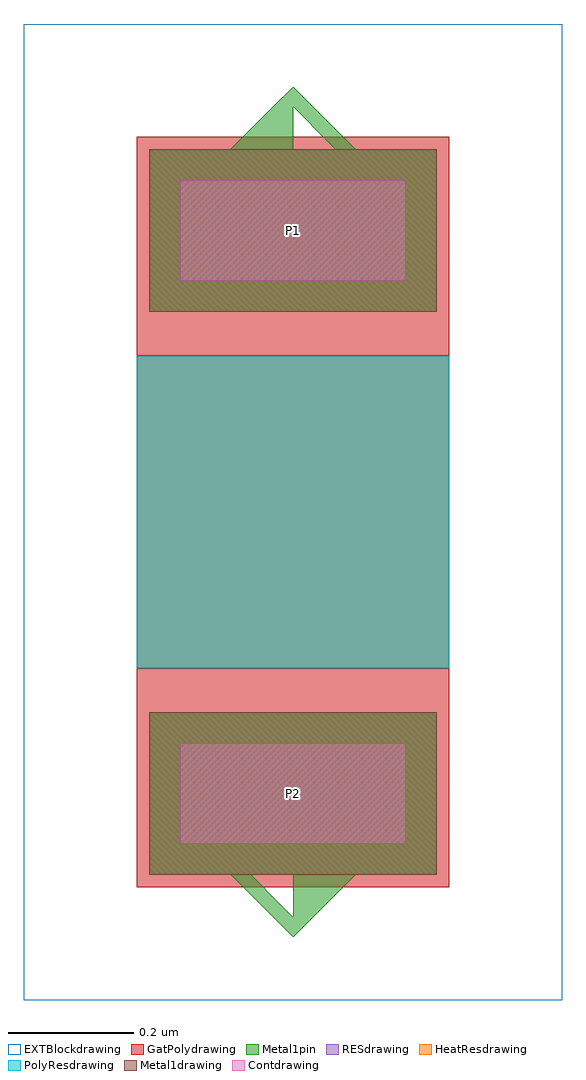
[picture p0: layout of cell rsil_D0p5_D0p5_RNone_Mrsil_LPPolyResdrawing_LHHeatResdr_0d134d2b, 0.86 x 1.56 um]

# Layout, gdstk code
import gdstk
lib = gdstk.Library(unit=1e-6, precision=1e-09)
def R(c, l, rs):  # rectangles x0, y0, x1, y1
    for r in rs: c.add(gdstk.rectangle(r[:2], r[2:], *l))
def P(c, l, *ps):  # polygons
    for p in ps: c.add(gdstk.Polygon(p, *l))
GatPolydrawing = (5, 0)
Contdrawing = (6, 0)
Metal1drawing = (8, 0)
Metal1pin = (8, 2)
RESdrawing = (24, 0)
HeatResdrawing = (52, 0)
EXTBlockdrawing = (111, 0)
PolyResdrawing = (128, 0)

rectangle_gdsfactorypcom = lib.new_cell('rectangle_gdsfactorypcomponentspshapesprectangle_S0p86__22b38a77')
R(rectangle_gdsfactorypcom, EXTBlockdrawing, [(0,0,0.86,1.56)])

c_rectangle_gdsfactorypcom = lib.new_cell('rectangle_gdsfactorypcomponentspshapesprectangle_S0p36__cc771b56')
R(c_rectangle_gdsfactorypcom, Contdrawing, [(0,0,0.36,0.16)])

c_rectangle_gdsfactorypcom_ = lib.new_cell('rectangle_gdsfactorypcomponentspshapesprectangle_S0p46__c5e398a1')
R(c_rectangle_gdsfactorypcom_, Metal1drawing, [(0,0,0.46,0.26)])

c_rectangle_gdsfactorypcom__ = lib.new_cell('rectangle_gdsfactorypcomponentspshapesprectangle_S0p46__0c3aa280')
R(c_rectangle_gdsfactorypcom__, Metal1pin, [(0,0,0.46,0.26)])

c_rectangle_gdsfactorypcom___ = lib.new_cell('rectangle_gdsfactorypcomponentspshapesprectangle_S0p5_0_365be98d')
R(c_rectangle_gdsfactorypcom___, GatPolydrawing, [(0,0,0.5,0.35)])

c_rectangle_gdsfactorypcom____ = lib.new_cell('rectangle_gdsfactorypcomponentspshapesprectangle_S0p5_0_28ac2caa')
R(c_rectangle_gdsfactorypcom____, RESdrawing, [(0,0,0.5,0.5)])

c_rectangle_gdsfactorypcom_____ = lib.new_cell('rectangle_gdsfactorypcomponentspshapesprectangle_S0p5_0_955d4748')
R(c_rectangle_gdsfactorypcom_____, HeatResdrawing, [(0,0,0.5,0.5)])

c_rectangle_gdsfactorypcom______ = lib.new_cell('rectangle_gdsfactorypcomponentspshapesprectangle_S0p5_0_ce1d4e87')
R(c_rectangle_gdsfactorypcom______, PolyResdrawing, [(0,0,0.5,0.5)])

rsil_d0p5_d0p5_rnone_mrs = lib.new_cell('rsil_D0p5_D0p5_RNone_Mrsil_LPPolyResdrawing_LHHeatResdr_0d134d2b')
P(rsil_d0p5_d0p5_rnone_mrs, Metal1pin, [(0.25,-0.43),(0.043,-0.223),(0.077,-0.223),(0.25,-0.398),(0.25,-0.223),(0.043,-0.223),(0.02,-0.2),(0.48,-0.2)],
  [(0.02,0.7),(0.218,0.898),(0.25,0.898),(0.25,0.723),(0.423,0.723),(0.25,0.898),(0.218,0.898),(0.25,0.93),(0.48,0.7)])
rsil_d0p5_d0p5_rnone_mrs.add(gdstk.Reference(rectangle_gdsfactorypcom, (-0.18,-0.53)))
rsil_d0p5_d0p5_rnone_mrs.add(gdstk.Reference(c_rectangle_gdsfactorypcom, (0.07,-0.28)))
rsil_d0p5_d0p5_rnone_mrs.add(gdstk.Reference(c_rectangle_gdsfactorypcom, (0.07,0.62)))
rsil_d0p5_d0p5_rnone_mrs.add(gdstk.Reference(c_rectangle_gdsfactorypcom_, (0.02,-0.33)))
rsil_d0p5_d0p5_rnone_mrs.add(gdstk.Reference(c_rectangle_gdsfactorypcom_, (0.02,0.57)))
rsil_d0p5_d0p5_rnone_mrs.add(gdstk.Reference(c_rectangle_gdsfactorypcom__, (0.02,-0.33)))
rsil_d0p5_d0p5_rnone_mrs.add(gdstk.Reference(c_rectangle_gdsfactorypcom__, (0.02,0.57)))
rsil_d0p5_d0p5_rnone_mrs.add(gdstk.Reference(c_rectangle_gdsfactorypcom___, (0,-0.35)))
rsil_d0p5_d0p5_rnone_mrs.add(gdstk.Reference(c_rectangle_gdsfactorypcom___, (0,0.5)))
rsil_d0p5_d0p5_rnone_mrs.add(gdstk.Reference(c_rectangle_gdsfactorypcom____, (0,0)))
rsil_d0p5_d0p5_rnone_mrs.add(gdstk.Reference(c_rectangle_gdsfactorypcom_____, (0,0)))
rsil_d0p5_d0p5_rnone_mrs.add(gdstk.Reference(c_rectangle_gdsfactorypcom______, (0,0)))
rsil_d0p5_d0p5_rnone_mrs.add(gdstk.Label('P2', (0.25,-0.2), layer=8, texttype=2))
rsil_d0p5_d0p5_rnone_mrs.add(gdstk.Label('P1', (0.25,0.7), layer=8, texttype=2))

lib.write_gds('rsil_D0p5_D0p5_RNone_Mrsil_LPPolyResdrawing_LHHeatResdr_0d134d2b.gds')
